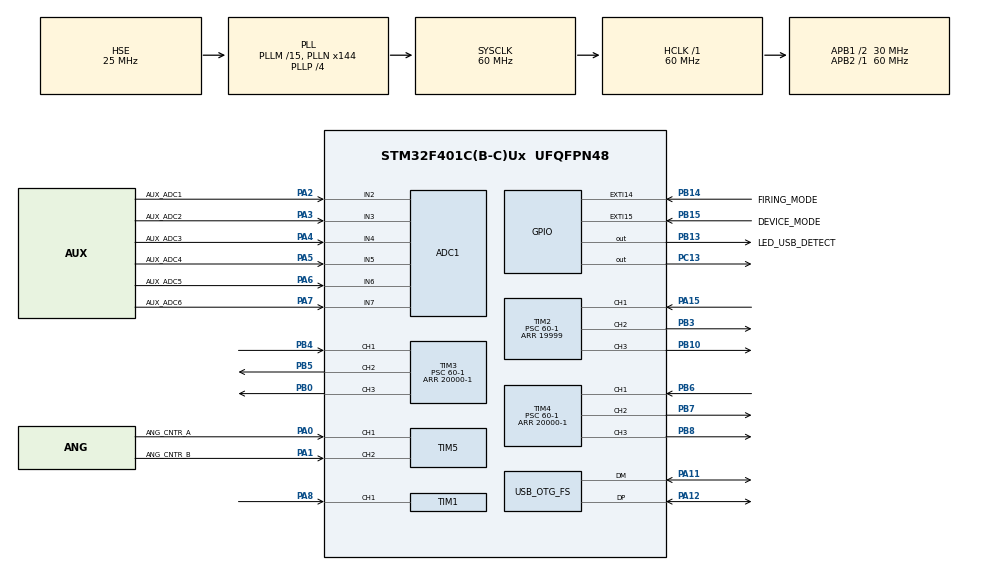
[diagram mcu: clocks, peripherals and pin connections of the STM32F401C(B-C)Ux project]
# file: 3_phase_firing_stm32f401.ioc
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ADC1.Channel-1\#ChannelRegularConversion=ADC_CHANNEL_2
ADC1.NbrOfConversionFlag=1
ADC1.Rank-1\#ChannelRegularConversion=1
ADC1.SamplingTime-1\#ChannelRegularConversion=ADC_SAMPLETIME_3CYCLES
ADC1.master=1
Mcu.Family=STM32F4
Mcu.Name=STM32F401C(B-C)Ux
Mcu.Package=UFQFPN48
NVIC.EXTI15_10_IRQn=true\:0\:0\:false\:false\:true\:true\:true\:true
NVIC.OTG_FS_IRQn=true\:0\:0\:false\:false\:true\:false\:true\:true
NVIC.PriorityGroup=NVIC_PRIORITYGROUP_4
NVIC.TIM2_IRQn=true\:0\:0\:false\:false\:true\:true\:true\:true
NVIC.TIM3_IRQn=true\:0\:0\:false\:false\:true\:true\:true\:true
NVIC.TIM4_IRQn=true\:0\:0\:false\:false\:true\:true\:true\:true
PA0-WKUP.GPIO_Label=ANG_CNTR_A
PA0-WKUP.Signal=S_TIM5_CH1
PA1.GPIO_Label=ANG_CNTR_B
PA1.Signal=S_TIM5_CH2
PA11.Mode=Device_Only
PA11.Signal=USB_OTG_FS_DM
PA12.Mode=Device_Only
PA12.Signal=USB_OTG_FS_DP
PA13.Mode=Serial_Wire
PA13.Signal=SYS_JTMS-SWDIO
PA14.Mode=Serial_Wire
PA14.Signal=SYS_JTCK-SWCLK
PA15.Signal=S_TIM2_CH1_ETR
PA2.GPIO_Label=AUX_ADC1
PA2.Signal=ADCx_IN2
PA3.GPIO_Label=AUX_ADC2
PA3.Signal=ADCx_IN3
PA4.GPIO_Label=AUX_ADC3
PA4.Signal=ADCx_IN4
PA5.GPIO_Label=AUX_ADC4
PA5.Signal=ADCx_IN5
PA6.GPIO_Label=AUX_ADC5
PA6.Signal=ADCx_IN6
PA7.GPIO_Label=AUX_ADC6
PA7.Signal=ADCx_IN7
PA8.Signal=S_TIM1_CH1
PA9.Signal=S_TIM1_CH2
PB0.Signal=S_TIM3_CH3
PB10.Signal=S_TIM2_CH3
PB13.GPIO_Label=LED_USB_DETECT
PB13.Signal=GPIO_Output
PB14.GPIO_Label=FIRING_MODE
PB14.Signal=GPXTI14
PB15.GPIO_Label=DEVICE_MODE
PB15.Signal=GPXTI15
PB3.Signal=S_TIM2_CH2
PB4.Signal=S_TIM3_CH1
PB5.Signal=S_TIM3_CH2
PB6.Signal=S_TIM4_CH1
PB7.Signal=S_TIM4_CH2
PB8.Signal=S_TIM4_CH3
PC13-ANTI_TAMP.Signal=GPIO_Output
PH0\ -\ OSC_IN.Mode=HSE-External-Oscillator
PH0\ -\ OSC_IN.Signal=RCC_OSC_IN
PH1\ -\ OSC_OUT.Mode=HSE-External-Oscillator
PH1\ -\ OSC_OUT.Signal=RCC_OSC_OUT
ProjectManager.HeapSize=0x200
ProjectManager.StackSize=0x400
ProjectManager.TargetToolchain=STM32CubeIDE
RCC.48MHZClocksFreq_Value=48000000
RCC.AHBFreq_Value=60000000
RCC.APB1CLKDivider=RCC_HCLK_DIV2
RCC.APB1Freq_Value=30000000
RCC.APB1TimFreq_Value=60000000
RCC.APB2Freq_Value=60000000
RCC.APB2TimFreq_Value=60000000
RCC.CortexFreq_Value=60000000
RCC.HCLKFreq_Value=60000000
RCC.HSE_VALUE=25000000
RCC.HSI_VALUE=16000000
RCC.LSE_VALUE=32768
RCC.PLLM=15
RCC.PLLN=144
RCC.PLLP=RCC_PLLP_DIV4
RCC.PLLQ=5
RCC.SYSCLKFreq_VALUE=60000000
RCC.SYSCLKSource=RCC_SYSCLKSOURCE_PLLCLK
RCC.VCOOutputFreq_Value=240000000
SH.ADCx_IN2.0=ADC1_IN2,IN2
SH.ADCx_IN3.0=ADC1_IN3,IN3
SH.ADCx_IN4.0=ADC1_IN4,IN4
SH.ADCx_IN5.0=ADC1_IN5,IN5
SH.ADCx_IN6.0=ADC1_IN6,IN6
SH.ADCx_IN7.0=ADC1_IN7,IN7
SH.S_TIM1_CH1.0=TIM1_CH1,TriggerSource_TI1FP1
SH.S_TIM1_CH2.0=TIM1_CH2
SH.S_TIM2_CH1_ETR.0=TIM2_CH1,TriggerSource_TI1FP1
SH.S_TIM2_CH2.0=TIM2_CH2,PWM Generation2 CH2
SH.S_TIM2_CH3.0=TIM2_CH3,Output Compare3 CH3
SH.S_TIM3_CH1.0=TIM3_CH1,TriggerSource_TI1FP1
SH.S_TIM3_CH2.0=TIM3_CH2,PWM Generation2 CH2
SH.S_TIM3_CH3.0=TIM3_CH3,Output Compare3 CH3
SH.S_TIM4_CH1.0=TIM4_CH1,TriggerSource_TI1FP1
SH.S_TIM4_CH2.0=TIM4_CH2,PWM Generation2 CH2
SH.S_TIM4_CH3.0=TIM4_CH3,Output Compare3 CH3
SH.S_TIM5_CH1.0=TIM5_CH1,Encoder_Interface
SH.S_TIM5_CH2.0=TIM5_CH2,Encoder_Interface
TIM2.AutoReloadPreload=TIM_AUTORELOAD_PRELOAD_ENABLE
TIM2.Channel-Output\ Compare3\ CH3=TIM_CHANNEL_3
TIM2.Channel-PWM\ Generation2\ CH2=TIM_CHANNEL_2
TIM2.Period=19999
TIM2.Prescaler=60-1
TIM3.AutoReloadPreload=TIM_AUTORELOAD_PRELOAD_ENABLE
TIM3.Channel-Output\ Compare3\ CH3=TIM_CHANNEL_3
TIM3.Channel-PWM\ Generation2\ CH2=TIM_CHANNEL_2
TIM3.OCMode_3=TIM_OCMODE_TOGGLE
TIM3.OCMode_PWM-PWM\ Generation2\ CH2=TIM_OCMODE_PWM2
TIM3.Period=20000-1
TIM3.Prescaler=60-1
TIM4.AutoReloadPreload=TIM_AUTORELOAD_PRELOAD_ENABLE
TIM4.Channel-Output\ Compare3\ CH3=TIM_CHANNEL_3
TIM4.Channel-PWM\ Generation2\ CH2=TIM_CHANNEL_2
TIM4.OCMode_3=TIM_OCMODE_TOGGLE
TIM4.OCMode_PWM-PWM\ Generation2\ CH2=TIM_OCMODE_PWM2
TIM4.Period=20000-1
TIM4.Prescaler=60-1
USB_DEVICE.CLASS_NAME_FS=CDC
USB_DEVICE.VirtualMode=Cdc
USB_DEVICE.VirtualModeFS=Cdc_FS
USB_OTG_FS.VirtualMode=Device_Only
VP_TIM1_VS_ControllerModeTrigger.Mode=Trigger Mode
VP_TIM2_VS_ControllerModeTrigger.Mode=Trigger Mode
VP_TIM2_VS_OPM.Mode=OPM_bit
VP_TIM3_VS_ControllerModeTrigger.Mode=Trigger Mode
VP_TIM3_VS_OPM.Mode=OPM_bit
VP_TIM4_VS_ControllerModeTrigger.Mode=Trigger Mode
VP_TIM4_VS_OPM.Mode=OPM_bit
VP_USB_DEVICE_VS_USB_DEVICE_CDC_FS.Mode=CDC_FS
board=custom

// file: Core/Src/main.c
/* USER CODE BEGIN Header */
/**
 ******************************************************************************
 * @file           : main.c
 * @brief          : Main program body
 ******************************************************************************
 * @attention
 *
 * Copyright (c) 2022 STMicroelectronics.
 * All rights reserved.
 *
 * This software is licensed under terms that can be found in the LICENSE file
 * in the root directory of this software component.
 * If no LICENSE file comes with this software, it is provided AS-IS.
 *
 ******************************************************************************
 */
/* USER CODE END Header */
#include "main.h"
#include "usb_device.h"

ADC_HandleTypeDef hadc1;

TIM_HandleTypeDef htim1;
TIM_HandleTypeDef htim2;
TIM_HandleTypeDef htim3;
TIM_HandleTypeDef htim4;
TIM_HandleTypeDef htim5;

/* USER CODE BEGIN PV */
#define SCR_PULSE_WIDTH 1000

// Global alpha phase setting
uint8_t sudut_alpha = 0;
uint8_t device_select = 0;

uint8_t first_wave_flag_1 = 0;
uint8_t first_wave_flag_2 = 0;
uint8_t first_wave_flag_3 = 0;
/* USER CODE END PV */

void SystemClock_Config(void);
static void MX_GPIO_Init(void);
static void MX_TIM2_Init(void);
static void MX_TIM3_Init(void);
static void MX_TIM4_Init(void);
static void MX_TIM1_Init(void);
static void MX_ADC1_Init(void);
static void MX_TIM5_Init(void);
/* USER CODE BEGIN PFP */
void set_alpha(int alpha);
/* USER CODE END PFP */

int main(void)
{

  /* MCU Configuration--------------------------------------------------------*/

  /* Reset of all peripherals, Initializes the Flash interface and the Systick. */
  HAL_Init();

  /* Configure the system clock */
  SystemClock_Config();

  /* Initialize all configured peripherals */
  MX_GPIO_Init();
  MX_TIM2_Init();
  MX_TIM3_Init();
  MX_TIM4_Init();
  MX_TIM1_Init();
  MX_USB_DEVICE_Init();
  MX_ADC1_Init();
  MX_TIM5_Init();
  /* USER CODE BEGIN 2 */
	// Initializing Timer Base
	HAL_TIM_Base_Start(&htim2);
	HAL_TIM_Base_Start(&htim3);
	HAL_TIM_Base_Start(&htim4);

	// Initializing One Pulse mode for unidirectional mode
	HAL_TIM_OnePulse_Start(&htim2, TIM_CHANNEL_2);
	HAL_TIM_OnePulse_Start(&htim3, TIM_CHANNEL_2);
	HAL_TIM_OnePulse_Start(&htim4, TIM_CHANNEL_2);

	// Intializing Output Compare mode for bidirectional mode
	HAL_TIM_OC_Start_IT(&htim2, TIM_CHANNEL_3);
	HAL_TIM_OC_Start_IT(&htim3, TIM_CHANNEL_3);
	HAL_TIM_OC_Start_IT(&htim4, TIM_CHANNEL_3);
  /* USER CODE END 2 */

  /* Infinite loop */
  /* USER CODE BEGIN WHILE */
	while (1) {
		HAL_GPIO_TogglePin(LED_GPIO_Port, LED_Pin);
		sudut_alpha = 1000;
		set_alpha(sudut_alpha);
		HAL_Delay(1000);
		sudut_alpha = 1;
		set_alpha(sudut_alpha);
		HAL_Delay(2000);
		sudut_alpha = 8000;
		set_alpha(sudut_alpha);
		HAL_Delay(3000);
		for (int i = 0; i < 9000; i++) {
			sudut_alpha = i;
			set_alpha(i);
			HAL_Delay(1);
		}
    /* USER CODE END WHILE */

	}
}

void SystemClock_Config(void)
{
  RCC_OscInitTypeDef RCC_OscInitStruct = {0};
  RCC_ClkInitTypeDef RCC_ClkInitStruct = {0};

  /** Configure the main internal regulator output voltage
  */
  __HAL_RCC_PWR_CLK_ENABLE();
  __HAL_PWR_VOLTAGESCALING_CONFIG(PWR_REGULATOR_VOLTAGE_SCALE2);

  /** Initializes the RCC Oscillators according to the specified parameters
  * in the RCC_OscInitTypeDef structure.
  */
  RCC_OscInitStruct.OscillatorType = RCC_OSCILLATORTYPE_HSE;
  RCC_OscInitStruct.HSEState = RCC_HSE_ON;
  RCC_OscInitStruct.PLL.PLLState = RCC_PLL_ON;
  RCC_OscInitStruct.PLL.PLLSource = RCC_PLLSOURCE_HSE;
  RCC_OscInitStruct.PLL.PLLM = 15;
  RCC_OscInitStruct.PLL.PLLN = 144;
  RCC_OscInitStruct.PLL.PLLP = RCC_PLLP_DIV4;
  RCC_OscInitStruct.PLL.PLLQ = 5;
  if (HAL_RCC_OscConfig(&RCC_OscInitStruct) != HAL_OK)
  {
    Error_Handler();
  }

  /** Initializes the CPU, AHB and APB buses clocks
  */
  RCC_ClkInitStruct.ClockType = RCC_CLOCKTYPE_HCLK|RCC_CLOCKTYPE_SYSCLK
                              |RCC_CLOCKTYPE_PCLK1|RCC_CLOCKTYPE_PCLK2;
  RCC_ClkInitStruct.SYSCLKSource = RCC_SYSCLKSOURCE_PLLCLK;
  RCC_ClkInitStruct.AHBCLKDivider = RCC_SYSCLK_DIV1;
  RCC_ClkInitStruct.APB1CLKDivider = RCC_HCLK_DIV2;
  RCC_ClkInitStruct.APB2CLKDivider = RCC_HCLK_DIV1;

  if (HAL_RCC_ClockConfig(&RCC_ClkInitStruct, FLASH_LATENCY_1) != HAL_OK)
  {
    Error_Handler();
  }
}

static void MX_ADC1_Init(void)
{

  ADC_ChannelConfTypeDef sConfig = {0};

  /** Configure the global features of the ADC (Clock, Resolution, Data Alignment and number of conversion)
  */
  hadc1.Instance = ADC1;
  hadc1.Init.ClockPrescaler = ADC_CLOCK_SYNC_PCLK_DIV2;
  hadc1.Init.Resolution = ADC_RESOLUTION_12B;
  hadc1.Init.ScanConvMode = DISABLE;
  hadc1.Init.ContinuousConvMode = DISABLE;
  hadc1.Init.DiscontinuousConvMode = DISABLE;
  hadc1.Init.ExternalTrigConvEdge = ADC_EXTERNALTRIGCONVEDGE_NONE;
  hadc1.Init.ExternalTrigConv = ADC_SOFTWARE_START;
  hadc1.Init.DataAlign = ADC_DATAALIGN_RIGHT;
  hadc1.Init.NbrOfConversion = 1;
  hadc1.Init.DMAContinuousRequests = DISABLE;
  hadc1.Init.EOCSelection = ADC_EOC_SINGLE_CONV;
  if (HAL_ADC_Init(&hadc1) != HAL_OK)
  {
    Error_Handler();
  }

  /** Configure for the selected ADC regular channel its corresponding rank in the sequencer and its sample time.
  */
  sConfig.Channel = ADC_CHANNEL_2;
  sConfig.Rank = 1;
  sConfig.SamplingTime = ADC_SAMPLETIME_3CYCLES;
  if (HAL_ADC_ConfigChannel(&hadc1, &sConfig) != HAL_OK)
  {
    Error_Handler();
  }

}

static void MX_TIM1_Init(void)
{

  TIM_SlaveConfigTypeDef sSlaveConfig = {0};
  TIM_MasterConfigTypeDef sMasterConfig = {0};

  htim1.Instance = TIM1;
  htim1.Init.Prescaler = 0;
  htim1.Init.CounterMode = TIM_COUNTERMODE_UP;
  htim1.Init.Period = 65535;
  htim1.Init.ClockDivision = TIM_CLOCKDIVISION_DIV1;
  htim1.Init.RepetitionCounter = 0;
  htim1.Init.AutoReloadPreload = TIM_AUTORELOAD_PRELOAD_DISABLE;
  if (HAL_TIM_Base_Init(&htim1) != HAL_OK)
  {
    Error_Handler();
  }
  sSlaveConfig.SlaveMode = TIM_SLAVEMODE_TRIGGER;
  sSlaveConfig.InputTrigger = TIM_TS_TI1FP1;
  sSlaveConfig.TriggerPolarity = TIM_TRIGGERPOLARITY_RISING;
  sSlaveConfig.TriggerFilter = 0;
  if (HAL_TIM_SlaveConfigSynchro(&htim1, &sSlaveConfig) != HAL_OK)
  {
    Error_Handler();
  }
  sMasterConfig.MasterOutputTrigger = TIM_TRGO_RESET;
  sMasterConfig.MasterSlaveMode = TIM_MASTERSLAVEMODE_DISABLE;
  if (HAL_TIMEx_MasterConfigSynchronization(&htim1, &sMasterConfig) != HAL_OK)
  {
    Error_Handler();
  }

}

static void MX_TIM2_Init(void)
{

  /* USER CODE BEGIN TIM2_Init 0 */
	TIM_OnePulse_InitTypeDef sConfigOP = { 0 };
  /* USER CODE END TIM2_Init 0 */

  TIM_SlaveConfigTypeDef sSlaveConfig = {0};
  TIM_MasterConfigTypeDef sMasterConfig = {0};
  TIM_OC_InitTypeDef sConfigOC = {0};

  htim2.Instance = TIM2;
  htim2.Init.Prescaler = 60-1;
  htim2.Init.CounterMode = TIM_COUNTERMODE_UP;
  htim2.Init.Period = 19999;
  htim2.Init.ClockDivision = TIM_CLOCKDIVISION_DIV1;
  htim2.Init.AutoReloadPreload = TIM_AUTORELOAD_PRELOAD_ENABLE;
  if (HAL_TIM_Base_Init(&htim2) != HAL_OK)
  {
    Error_Handler();
  }
  if (HAL_TIM_PWM_Init(&htim2) != HAL_OK)
  {
    Error_Handler();
  }
  if (HAL_TIM_OC_Init(&htim2) != HAL_OK)
  {
    Error_Handler();
  }
  if (HAL_TIM_OnePulse_Init(&htim2, TIM_OPMODE_SINGLE) != HAL_OK)
  {
    Error_Handler();
  }
  sSlaveConfig.SlaveMode = TIM_SLAVEMODE_TRIGGER;
  sSlaveConfig.InputTrigger = TIM_TS_TI1FP1;
  sSlaveConfig.TriggerPolarity = TIM_TRIGGERPOLARITY_RISING;
  sSlaveConfig.TriggerFilter = 0;
  if (HAL_TIM_SlaveConfigSynchro(&htim2, &sSlaveConfig) != HAL_OK)
  {
    Error_Handler();
  }
  sMasterConfig.MasterOutputTrigger = TIM_TRGO_RESET;
  sMasterConfig.MasterSlaveMode = TIM_MASTERSLAVEMODE_DISABLE;
  if (HAL_TIMEx_MasterConfigSynchronization(&htim2, &sMasterConfig) != HAL_OK)
  {
    Error_Handler();
  }
  sConfigOC.OCMode = TIM_OCMODE_PWM1;
  sConfigOC.Pulse = 0;
  sConfigOC.OCPolarity = TIM_OCPOLARITY_HIGH;
  sConfigOC.OCFastMode = TIM_OCFAST_DISABLE;
  if (HAL_TIM_PWM_ConfigChannel(&htim2, &sConfigOC, TIM_CHANNEL_2) != HAL_OK)
  {
    Error_Handler();
  }
  sConfigOC.OCMode = TIM_OCMODE_TIMING;
  if (HAL_TIM_OC_ConfigChannel(&htim2, &sConfigOC, TIM_CHANNEL_3) != HAL_OK)
  {
    Error_Handler();
  }
  /* USER CODE BEGIN TIM2_Init 2 */
	sConfigOP.OCMode = TIM_OCMODE_PWM2;
	sConfigOP.Pulse = 1000;
	sConfigOP.OCPolarity = TIM_OCPOLARITY_HIGH;

	sConfigOP.ICSelection = TIM_ICSELECTION_DIRECTTI;
	sConfigOP.ICPolarity = TIM_ICPOLARITY_RISING;
	sConfigOP.ICFilter = 0;
	if (HAL_TIM_OnePulse_ConfigChannel(&htim2, &sConfigOP, TIM_CHANNEL_2,
	TIM_CHANNEL_1) != HAL_OK) {
		Error_Handler();
	}
  /* USER CODE END TIM2_Init 2 */
  HAL_TIM_MspPostInit(&htim2);

}

static void MX_TIM3_Init(void)
{

  TIM_SlaveConfigTypeDef sSlaveConfig = {0};
  TIM_MasterConfigTypeDef sMasterConfig = {0};
  TIM_OC_InitTypeDef sConfigOC = {0};

  htim3.Instance = TIM3;
  htim3.Init.Prescaler = 60-1;
  htim3.Init.CounterMode = TIM_COUNTERMODE_UP;
  htim3.Init.Period = 20000-1;
  htim3.Init.ClockDivision = TIM_CLOCKDIVISION_DIV1;
  htim3.Init.AutoReloadPreload = TIM_AUTORELOAD_PRELOAD_ENABLE;
  if (HAL_TIM_Base_Init(&htim3) != HAL_OK)
  {
    Error_Handler();
  }
  if (HAL_TIM_PWM_Init(&htim3) != HAL_OK)
  {
    Error_Handler();
  }
  if (HAL_TIM_OC_Init(&htim3) != HAL_OK)
  {
    Error_Handler();
  }
  if (HAL_TIM_OnePulse_Init(&htim3, TIM_OPMODE_SINGLE) != HAL_OK)
  {
    Error_Handler();
  }
  sSlaveConfig.SlaveMode = TIM_SLAVEMODE_TRIGGER;
  sSlaveConfig.InputTrigger = TIM_TS_TI1FP1;
  sSlaveConfig.TriggerPolarity = TIM_TRIGGERPOLARITY_RISING;
  sSlaveConfig.TriggerFilter = 0;
  if (HAL_TIM_SlaveConfigSynchro(&htim3, &sSlaveConfig) != HAL_OK)
  {
    Error_Handler();
  }
  sMasterConfig.MasterOutputTrigger = TIM_TRGO_RESET;
  sMasterConfig.MasterSlaveMode = TIM_MASTERSLAVEMODE_DISABLE;
  if (HAL_TIMEx_MasterConfigSynchronization(&htim3, &sMasterConfig) != HAL_OK)
  {
    Error_Handler();
  }
  sConfigOC.OCMode = TIM_OCMODE_PWM2;
  sConfigOC.Pulse = 0;
  sConfigOC.OCPolarity = TIM_OCPOLARITY_HIGH;
  sConfigOC.OCFastMode = TIM_OCFAST_DISABLE;
  if (HAL_TIM_PWM_ConfigChannel(&htim3, &sConfigOC, TIM_CHANNEL_2) != HAL_OK)
  {
    Error_Handler();
  }
  sConfigOC.OCMode = TIM_OCMODE_TOGGLE;
  if (HAL_TIM_OC_ConfigChannel(&htim3, &sConfigOC, TIM_CHANNEL_3) != HAL_OK)
  {
    Error_Handler();
  }
  HAL_TIM_MspPostInit(&htim3);

}

static void MX_TIM4_Init(void)
{

  TIM_SlaveConfigTypeDef sSlaveConfig = {0};
  TIM_MasterConfigTypeDef sMasterConfig = {0};
  TIM_OC_InitTypeDef sConfigOC = {0};

  htim4.Instance = TIM4;
  htim4.Init.Prescaler = 60-1;
  htim4.Init.CounterMode = TIM_COUNTERMODE_UP;
  htim4.Init.Period = 20000-1;
  htim4.Init.ClockDivision = TIM_CLOCKDIVISION_DIV1;
  htim4.Init.AutoReloadPreload = TIM_AUTORELOAD_PRELOAD_ENABLE;
  if (HAL_TIM_Base_Init(&htim4) != HAL_OK)
  {
    Error_Handler();
  }
  if (HAL_TIM_PWM_Init(&htim4) != HAL_OK)
  {
    Error_Handler();
  }
  if (HAL_TIM_OC_Init(&htim4) != HAL_OK)
  {
    Error_Handler();
  }
  if (HAL_TIM_OnePulse_Init(&htim4, TIM_OPMODE_SINGLE) != HAL_OK)
  {
    Error_Handler();
  }
  sSlaveConfig.SlaveMode = TIM_SLAVEMODE_TRIGGER;
  sSlaveConfig.InputTrigger = TIM_TS_TI1FP1;
  sSlaveConfig.TriggerPolarity = TIM_TRIGGERPOLARITY_RISING;
  sSlaveConfig.TriggerFilter = 0;
  if (HAL_TIM_SlaveConfigSynchro(&htim4, &sSlaveConfig) != HAL_OK)
  {
    Error_Handler();
  }
  sMasterConfig.MasterOutputTrigger = TIM_TRGO_RESET;
  sMasterConfig.MasterSlaveMode = TIM_MASTERSLAVEMODE_DISABLE;
  if (HAL_TIMEx_MasterConfigSynchronization(&htim4, &sMasterConfig) != HAL_OK)
  {
    Error_Handler();
  }
  sConfigOC.OCMode = TIM_OCMODE_PWM2;
  sConfigOC.Pulse = 0;
  sConfigOC.OCPolarity = TIM_OCPOLARITY_HIGH;
  sConfigOC.OCFastMode = TIM_OCFAST_DISABLE;
  if (HAL_TIM_PWM_ConfigChannel(&htim4, &sConfigOC, TIM_CHANNEL_2) != HAL_OK)
  {
    Error_Handler();
  }
  sConfigOC.OCMode = TIM_OCMODE_TOGGLE;
  if (HAL_TIM_OC_ConfigChannel(&htim4, &sConfigOC, TIM_CHANNEL_3) != HAL_OK)
  {
    Error_Handler();
  }
  HAL_TIM_MspPostInit(&htim4);

}

static void MX_TIM5_Init(void)
{

  TIM_Encoder_InitTypeDef sConfig = {0};
  TIM_MasterConfigTypeDef sMasterConfig = {0};

  htim5.Instance = TIM5;
  htim5.Init.Prescaler = 0;
  htim5.Init.CounterMode = TIM_COUNTERMODE_UP;
  htim5.Init.Period = 4294967295;
  htim5.Init.ClockDivision = TIM_CLOCKDIVISION_DIV1;
  htim5.Init.AutoReloadPreload = TIM_AUTORELOAD_PRELOAD_DISABLE;
  sConfig.EncoderMode = TIM_ENCODERMODE_TI1;
  sConfig.IC1Polarity = TIM_ICPOLARITY_RISING;
  sConfig.IC1Selection = TIM_ICSELECTION_DIRECTTI;
  sConfig.IC1Prescaler = TIM_ICPSC_DIV1;
  sConfig.IC1Filter = 0;
  sConfig.IC2Polarity = TIM_ICPOLARITY_RISING;
  sConfig.IC2Selection = TIM_ICSELECTION_DIRECTTI;
  sConfig.IC2Prescaler = TIM_ICPSC_DIV1;
  sConfig.IC2Filter = 0;
  if (HAL_TIM_Encoder_Init(&htim5, &sConfig) != HAL_OK)
  {
    Error_Handler();
  }
  sMasterConfig.MasterOutputTrigger = TIM_TRGO_RESET;
  sMasterConfig.MasterSlaveMode = TIM_MASTERSLAVEMODE_DISABLE;
  if (HAL_TIMEx_MasterConfigSynchronization(&htim5, &sMasterConfig) != HAL_OK)
  {
    Error_Handler();
  }

}

static void MX_GPIO_Init(void)
{
  GPIO_InitTypeDef GPIO_InitStruct = {0};

  /* GPIO Ports Clock Enable */
  __HAL_RCC_GPIOC_CLK_ENABLE();
  __HAL_RCC_GPIOH_CLK_ENABLE();
  __HAL_RCC_GPIOA_CLK_ENABLE();
  __HAL_RCC_GPIOB_CLK_ENABLE();

  /*Configure GPIO pin Output Level */
  HAL_GPIO_WritePin(GPIOC, GPIO_PIN_13, GPIO_PIN_RESET);

  /*Configure GPIO pin Output Level */
  HAL_GPIO_WritePin(LED_USB_DETECT_GPIO_Port, LED_USB_DETECT_Pin, GPIO_PIN_RESET);

  /*Configure GPIO pin : PC13 */
  GPIO_InitStruct.Pin = GPIO_PIN_13;
  GPIO_InitStruct.Mode = GPIO_MODE_OUTPUT_PP;
  GPIO_InitStruct.Pull = GPIO_NOPULL;
  GPIO_InitStruct.Speed = GPIO_SPEED_FREQ_LOW;
  HAL_GPIO_Init(GPIOC, &GPIO_InitStruct);

  /*Configure GPIO pin : LED_USB_DETECT_Pin */
  GPIO_InitStruct.Pin = LED_USB_DETECT_Pin;
  GPIO_InitStruct.Mode = GPIO_MODE_OUTPUT_PP;
  GPIO_InitStruct.Pull = GPIO_NOPULL;
  GPIO_InitStruct.Speed = GPIO_SPEED_FREQ_LOW;
  HAL_GPIO_Init(LED_USB_DETECT_GPIO_Port, &GPIO_InitStruct);

  /*Configure GPIO pins : FIRING_MODE_Pin DEVICE_MODE_Pin */
  GPIO_InitStruct.Pin = FIRING_MODE_Pin|DEVICE_MODE_Pin;
  GPIO_InitStruct.Mode = GPIO_MODE_IT_RISING;
  GPIO_InitStruct.Pull = GPIO_NOPULL;
  HAL_GPIO_Init(GPIOB, &GPIO_InitStruct);

  /* EXTI interrupt init*/
  HAL_NVIC_SetPriority(EXTI15_10_IRQn, 0, 0);
  HAL_NVIC_EnableIRQ(EXTI15_10_IRQn);

}

/* USER CODE BEGIN 4 */
void HAL_TIM_OC_DelayElapsedCallback(TIM_HandleTypeDef *htim) {
	// Zero cross detector Handler
	if (htim->Instance == TIM2) {
		if (htim->Channel == HAL_TIM_ACTIVE_CHANNEL_3) {
			if (first_wave_flag_1 != 0) {
				__HAL_TIM_SET_COMPARE(&htim2, TIM_CHANNEL_3, sudut_alpha);
				first_wave_flag_1 = 0;
			} else {
				__HAL_TIM_SET_COMPARE(&htim2, TIM_CHANNEL_3,
						(sudut_alpha+SCR_PULSE_WIDTH));
				first_wave_flag_1 = 1;
			}
		}
	}

	// Phase B
	if (htim->Instance == TIM3) {
		if (htim->Channel == HAL_TIM_ACTIVE_CHANNEL_3) {
			if (first_wave_flag_2 != 0) {
				__HAL_TIM_SET_COMPARE(&htim3, TIM_CHANNEL_3, sudut_alpha);
				first_wave_flag_2 = 0;
			} else {
				__HAL_TIM_SET_COMPARE(&htim3, TIM_CHANNEL_3,
						(sudut_alpha+SCR_PULSE_WIDTH));
				first_wave_flag_2 = 1;
			}
		}
	}

	// Phase C
	if (htim->Instance == TIM4) {
		if (htim->Channel == HAL_TIM_ACTIVE_CHANNEL_3) {
			if (first_wave_flag_3 != 0) {
				__HAL_TIM_SET_COMPARE(&htim4, TIM_CHANNEL_3, sudut_alpha);
				first_wave_flag_3 = 0;
			} else {
				__HAL_TIM_SET_COMPARE(&htim4, TIM_CHANNEL_3,
						(sudut_alpha+SCR_PULSE_WIDTH));
				first_wave_flag_3 = 1;
			}
		}
	}
}

void set_alpha(int alpha) {
	// For Phase A
	if (device_select == DEVICE_SCR) {
		__HAL_TIM_SET_COMPARE(&htim2, TIM_CHANNEL_2, (alpha + PI_ANGLE_TIM));
		__HAL_TIM_SET_COMPARE(&htim2, TIM_CHANNEL_3, (alpha));
		__HAL_TIM_SET_AUTORELOAD(&htim2, (alpha+10000+SCR_PULSE_WIDTH));
	} else {
		__NOP();
	}

	// For Phase B
	if (device_select == DEVICE_SCR) {
		__HAL_TIM_SET_COMPARE(&htim3, TIM_CHANNEL_2, (alpha + PI_ANGLE_TIM));
		__HAL_TIM_SET_COMPARE(&htim3, TIM_CHANNEL_3, (alpha));
		__HAL_TIM_SET_AUTORELOAD(&htim4, (alpha+10000+SCR_PULSE_WIDTH));
	}
	// For Phase C
	if (device_select == DEVICE_SCR) {
		__HAL_TIM_SET_COMPARE(&htim4, TIM_CHANNEL_2, (alpha + PI_ANGLE_TIM));
		__HAL_TIM_SET_COMPARE(&htim4, TIM_CHANNEL_3, (alpha));
		__HAL_TIM_SET_AUTORELOAD(&htim4,
				(alpha + PI_ANGLE_TIM + SCR_PULSE_WIDTH));
	}
}

void HAL_GPIO_EXTI_Callback(uint16_t GPIO_Pin) {
	if (GPIO_Pin == FIRING_MODE_Pin) {
		if (device_select = DEVICE_SCR)
			device_select = DEVICE_TRIAC;
		else
			device_select = DEVICE_SCR;
	}
}

/* USER CODE END 4 */

void Error_Handler(void)
{
	__disable_irq();
	while (1) {
	}
}
